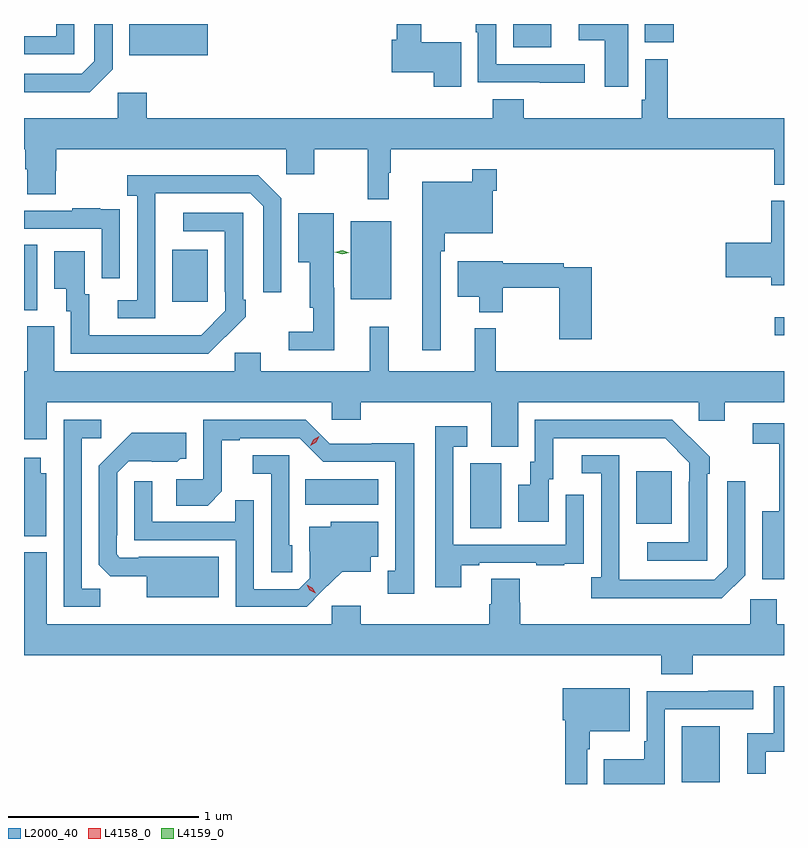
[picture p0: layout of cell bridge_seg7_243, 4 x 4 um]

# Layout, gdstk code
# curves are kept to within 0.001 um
import gdstk
lib = gdstk.Library(unit=1e-6, precision=1e-09)
def R(c, l, rs):  # rectangles x0, y0, x1, y1
    for r in rs: c.add(gdstk.rectangle(r[:2], r[2:], *l))
def P(c, l, *ps):  # polygons
    for p in ps: c.add(gdstk.Polygon(p, *l))
L2000_40 = (2000, 40)
L4158_0 = (4158, 0)
L4159_0 = (4159, 0)

bridge_seg7_243 = lib.new_cell('bridge_seg7_243')
R(bridge_seg7_243, L2000_40, [(184.415,1054.559,184.615,1054.855), (183.302,1055.896,183.466,1056.24), (184.175,1055.921,184.363,1056.196), (182.434,1056.02,182.818,1056.154), (184.905,1056.912,184.953,1057.008), (180.953,1057.045,181.024,1057.388), (181.733,1057.089,181.921,1057.363), (182.672,1057.103,182.887,1057.513), (181.508,1058.386,181.921,1058.551), (183.527,1058.429,183.727,1058.551), (184.22,1058.454,184.373,1058.551)])
P(bridge_seg7_243, L2000_40, [(181.218,1058.551),(181.122,1058.551),(181.122,1058.487),(180.953,1058.487),(180.953,1058.391),(181.218,1058.391)],
  [(184.132,1058.551),(183.872,1058.551),(183.872,1058.466),(184.01,1058.466),(184.01,1058.22),(184.132,1058.22)],
  [(183.253,1058.455),(183.043,1058.455),(183.043,1058.551),(182.914,1058.551),(182.914,1058.468),(182.888,1058.468),(182.888,1058.297),(183.11,1058.297),(183.11,1058.22),(183.253,1058.22)],
  [(181.419,1058.313),(181.419,1058.551),(181.323,1058.551),(181.323,1058.355),(181.257,1058.289),(180.953,1058.289),(180.953,1058.192),(181.298,1058.192)],
  [(183.904,1058.34),(183.438,1058.34),(183.438,1058.551),(183.33,1058.551),(183.33,1058.507),(183.342,1058.507),(183.342,1058.244),(183.667,1058.244),(183.667,1058.243),(183.904,1058.243)],
  [(184.901,1057.705),(184.953,1057.705),(184.953,1058.056),(184.34,1058.056),(184.34,1058.365),(184.224,1058.365),(184.224,1058.152),(184.204,1058.152),(184.204,1058.056),(183.584,1058.056),(183.584,1058.155),(183.419,1058.155),(183.419,1058.056),(181.598,1058.056),(181.598,1058.188),(181.446,1058.188),(181.446,1058.056),(180.953,1058.056),(180.953,1057.892),(180.959,1057.892),(180.959,1057.786),(180.971,1057.786),(180.971,1057.654),(181.119,1057.654),(181.119,1057.779),(181.124,1057.779),(181.124,1057.892),(182.334,1057.892),(182.334,1057.761),(182.481,1057.761),(182.481,1057.892),(182.763,1057.892),(182.763,1057.629),(182.872,1057.629),(182.872,1057.769),(182.884,1057.769),(182.884,1057.892),(184.901,1057.892)],
  [(183.147,1057.355),(183.167,1057.355),(183.167,1057.451),(183.42,1057.451),(183.42,1057.673),(183.44,1057.673),(183.44,1057.786),(183.312,1057.786),(183.312,1057.72),(183.05,1057.72),(183.05,1056.834),(183.147,1056.834)],
  [(181.644,1057.459),(181.645,1057.659),(182.145,1057.659),(182.211,1057.593),(182.211,1057.14),(182.307,1057.14),(182.307,1057.635),(182.186,1057.756),(181.497,1057.756),(181.497,1057.646),(181.548,1057.646),(181.548,1057.098),(181.446,1057.098),(181.446,1057.002),(181.644,1057.002)],
  [(184.953,1057.62),(184.886,1057.62),(184.886,1057.4),(184.647,1057.4),(184.647,1057.217),(184.886,1057.217),(184.886,1057.176),(184.953,1057.176)],
  [(181.458,1057.466),(181.457,1057.466),(181.457,1057.575),(181.355,1057.575),(181.355,1057.582),(181.207,1057.582),(181.207,1057.569),(180.953,1057.569),(180.953,1057.473),(181.362,1057.473),(181.362,1057.212),(181.458,1057.212)],
  [(182.015,1056.907),(182.016,1056.906),(182.121,1057.011),(182.121,1057.099),(182.106,1057.099),(182.106,1057.557),(181.791,1057.557),(181.791,1057.461),(182.01,1057.461),(182.01,1057.141),(182.013,1057.141),(182.013,1057.041),(181.885,1056.913),(181.297,1056.912),(181.297,1057.128),(181.273,1057.128),(181.273,1057.354),(181.112,1057.354),(181.112,1057.157),(181.175,1057.157),(181.175,1057.038),(181.2,1057.038),(181.2,1056.816),(181.924,1056.816)],
  [(182.585,1057.162),(182.584,1057.162),(182.584,1057.555),(182.396,1057.555),(182.396,1057.298),(182.456,1057.298),(182.456,1057.058),(182.475,1057.058),(182.475,1056.93),(182.346,1056.93),(182.346,1056.834),(182.585,1056.834)],
  [(183.941,1057.272),(183.794,1057.272),(183.794,1057.292),(183.472,1057.292),(183.472,1057.303),(183.236,1057.303),(183.236,1057.115),(183.35,1057.115),(183.35,1057.034),(183.472,1057.034),(183.472,1057.164),(183.77,1057.164),(183.77,1056.891),(183.941,1056.891)],
  [(183.553,1056.56),(184.503,1056.56),(184.503,1056.462),(184.642,1056.462),(184.642,1056.56),(184.953,1056.56),(184.953,1056.724),(183.436,1056.724),(183.436,1056.949),(183.326,1056.949),(183.326,1056.724),(182.873,1056.724),(182.873,1056.958),(182.774,1056.958),(182.774,1056.724),(182.2,1056.724),(182.2,1056.822),(182.061,1056.822),(182.061,1056.724),(181.111,1056.724),(181.111,1056.96),(180.971,1056.96),(180.971,1056.724),(180.953,1056.724),(180.953,1056.366),(181.072,1056.366),(181.072,1056.56),(182.574,1056.56),(182.574,1056.467),(182.726,1056.467),(182.726,1056.56),(183.413,1056.56),(183.413,1056.325),(183.553,1056.325)],
  [(183.007,1056.344),(182.784,1056.344),(182.784,1056.342),(182.562,1056.342),(182.436,1056.468),(181.896,1056.468),(181.896,1056.156),(181.755,1056.156),(181.755,1056.016),(181.919,1056.016),(181.995,1056.092),(181.995,1056.36),(182.089,1056.36),(182.089,1056.372),(182.403,1056.372),(182.529,1056.246),(182.906,1056.246),(182.906,1055.673),(182.867,1055.673),(182.867,1055.553),(183.007,1055.553)],
  [(181.353,1055.579),(181.257,1055.579),(181.257,1056.372),(181.36,1056.372),(181.36,1056.468),(181.161,1056.468),(181.161,1055.484),(181.353,1055.484)],
  [(184.548,1056.185),(184.563,1056.185),(184.563,1056.273),(184.366,1056.468),(183.642,1056.468),(183.642,1056.246),(183.617,1056.246),(183.617,1056.127),(183.554,1056.127),(183.554,1055.931),(183.715,1055.931),(183.715,1056.156),(183.739,1056.156),(183.739,1056.372),(184.327,1056.372),(184.455,1056.243),(184.455,1056.143),(184.452,1056.143),(184.452,1055.823),(184.233,1055.823),(184.233,1055.727),(184.548,1055.727)],
  [(184.953,1056.45),(184.788,1056.45),(184.788,1056.342),(184.928,1056.342),(184.928,1055.986),(184.838,1055.986),(184.838,1055.628),(184.953,1055.628)],
  [(183.253,1055.703),(183.349,1055.703),(183.349,1055.715),(183.649,1055.715),(183.649,1055.703),(183.797,1055.703),(183.797,1055.709),(183.899,1055.709),(183.899,1055.818),(183.9,1055.818),(183.9,1056.073),(183.804,1056.073),(183.804,1055.811),(183.213,1055.811),(183.213,1056.327),(183.286,1056.327),(183.286,1056.433),(183.117,1056.433),(183.117,1055.586),(183.253,1055.586)],
  [(181.978,1055.746),(181.558,1055.746),(181.558,1055.742),(181.458,1055.742),(181.44,1055.76),(181.44,1055.86),(181.443,1055.86),(181.443,1056.189),(181.503,1056.249),(181.76,1056.248),(181.776,1056.264),(181.807,1056.264),(181.807,1056.4),(181.519,1056.4),(181.347,1056.226),(181.347,1055.704),(181.406,1055.645),(181.598,1055.645),(181.598,1055.534),(181.978,1055.534)],
  [(184.749,1055.651),(184.749,1056.145),(184.653,1056.145),(184.653,1055.691),(184.587,1055.625),(184.087,1055.625),(184.086,1056.282),(183.888,1056.282),(183.888,1056.186),(183.99,1056.186),(183.99,1055.638),(183.939,1055.638),(183.939,1055.528),(184.626,1055.528)],
  [(182.364,1055.808),(182.349,1055.808),(182.349,1056.282),(182.157,1056.282),(182.157,1056.185),(182.253,1056.185),(182.253,1055.665),(182.364,1055.665)],
  [(181.069,1056.186),(181.042,1056.186),(181.042,1056.268),(180.953,1056.268),(180.953,1055.855),(181.069,1055.855)],
  [(182.524,1055.567),(182.627,1055.669),(182.779,1055.669),(182.779,1055.748),(182.818,1055.748),(182.818,1055.932),(182.568,1055.932),(182.568,1055.905),(182.453,1055.905),(182.453,1055.776),(182.457,1055.776),(182.457,1055.634),(182.4,1055.577),(182.163,1055.577),(182.163,1056.044),(182.065,1056.044),(182.065,1055.931),(181.629,1055.931),(181.629,1056.145),(181.533,1056.145),(181.533,1055.835),(182.067,1055.835),(182.067,1055.484),(182.44,1055.484)],
  [(184.472,1055.228),(184.953,1055.228),(184.953,1055.392),(184.915,1055.392),(184.915,1055.524),(184.776,1055.524),(184.776,1055.392),(183.566,1055.392),(183.566,1055.505),(183.561,1055.505),(183.561,1055.63),(183.413,1055.63),(183.413,1055.498),(183.401,1055.498),(183.401,1055.392),(182.726,1055.392),(182.726,1055.488),(182.574,1055.488),(182.574,1055.392),(181.072,1055.392),(181.072,1055.77),(180.953,1055.77),(180.953,1055.228),(184.307,1055.228),(184.307,1055.129),(184.472,1055.129)],
  [(184.858,1054.722),(184.953,1054.722),(184.953,1055.065),(184.898,1055.065),(184.898,1054.818),(184.76,1054.818),(184.76,1054.605),(184.858,1054.605)],
  [(183.918,1054.733),(183.931,1054.733),(183.931,1054.829),(184.141,1054.829),(184.141,1055.056),(183.788,1055.056),(183.788,1054.886),(183.802,1054.886),(183.802,1054.551),(183.918,1054.551)],
  [(184.326,1054.944),(184.792,1054.944),(184.792,1055.042),(184.555,1055.042),(184.555,1055.04),(184.23,1055.04),(184.23,1054.777),(184.218,1054.777),(184.218,1054.681),(184.003,1054.681),(184.003,1054.551),(184.326,1054.551)])
P(bridge_seg7_243, L4158_0, [(182.459,1056.33),(182.459,1056.33),(182.476,1056.363),(182.507,1056.382),(182.508,1056.382),(182.508,1056.382),(182.49,1056.349),(182.459,1056.33)],
  [(182.488,1055.555),(182.457,1055.571),(182.44,1055.6),(182.44,1055.601),(182.44,1055.601),(182.471,1055.585),(182.488,1055.555),(182.488,1055.555)])
P(bridge_seg7_243, L4159_0, [(182.627,1057.339),(182.588,1057.349),(182.588,1057.349),(182.588,1057.35),(182.627,1057.359),(182.666,1057.348),(182.666,1057.348),(182.666,1057.348)])

lib.write_gds('bridge_seg7_243.gds')
